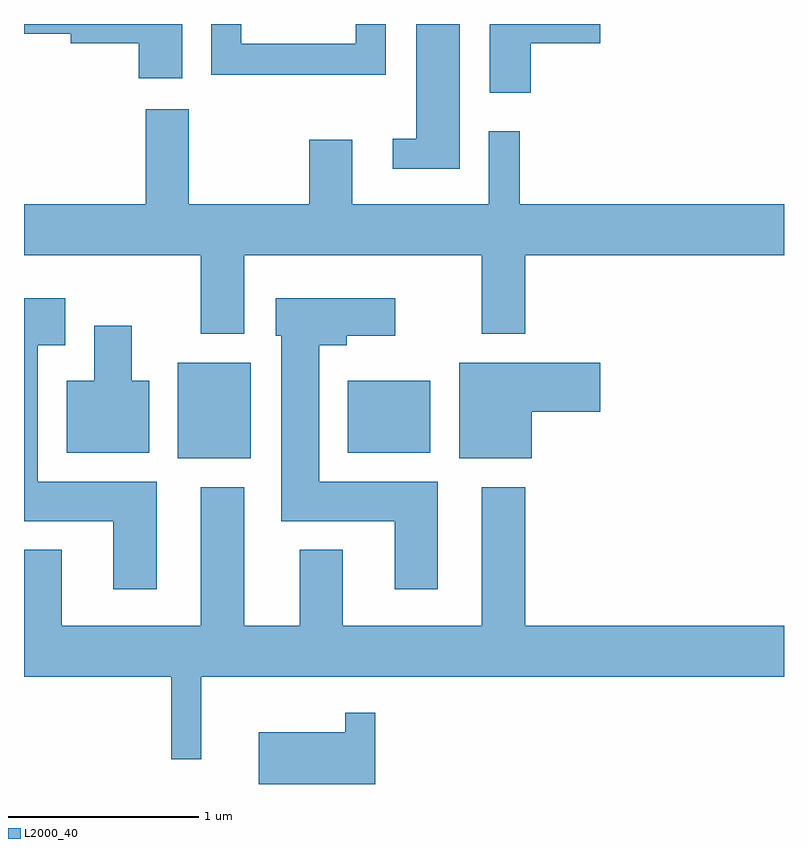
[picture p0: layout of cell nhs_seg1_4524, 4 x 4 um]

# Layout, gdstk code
import gdstk
lib = gdstk.Library(unit=1e-6, precision=1e-09)
def R(c, l, rs):  # rectangles x0, y0, x1, y1
    for r in rs: c.add(gdstk.rectangle(r[:2], r[2:], *l))
def P(c, l, *ps):  # polygons
    for p in ps: c.add(gdstk.Polygon(p, *l))
L2000_40 = (2000, 40)

nhs_seg1_4524 = lib.new_cell('nhs_seg1_4524')
R(nhs_seg1_4524, L2000_40, [(322.421,867.426,322.804,867.929), (323.316,867.456,323.749,867.834)])
P(nhs_seg1_4524, L2000_40, [(324.279,869.611),(324.644,869.611),(324.644,869.712),(324.061,869.712),(324.061,869.351),(324.279,869.351)],
  [(323.904,869.712),(323.676,869.712),(323.676,869.109),(323.553,869.109),(323.553,868.951),(323.904,868.951)],
  [(323.514,869.712),(323.356,869.712),(323.356,869.609),(322.754,869.609),(322.754,869.712),(322.596,869.712),(322.596,869.446),(323.514,869.446)],
  [(322.444,869.712),(321.611,869.712),(321.611,869.661),(321.856,869.661),(321.856,869.611),(322.216,869.611),(322.216,869.426),(322.444,869.426)],
  [(322.769,868.496),(324.021,868.496),(324.021,868.081),(324.249,868.081),(324.249,868.496),(325.611,868.496),(325.611,868.764),(324.219,868.764),(324.219,869.148),(324.056,869.148),(324.056,868.764),(323.339,868.764),(323.339,869.104),(323.111,869.104),(323.111,868.764),(322.479,868.764),(322.479,869.264),(322.251,869.264),(322.251,868.764),(321.611,868.764),(321.611,868.496),(322.541,868.496),(322.541,868.081),(322.769,868.081)],
  [(322.309,867.304),(321.684,867.304),(321.684,868.021),(321.829,868.021),(321.829,868.269),(321.611,868.269),(321.611,867.096),(322.081,867.096),(322.081,866.736),(322.309,866.736)],
  [(323.789,867.304),(323.164,867.304),(323.164,868.021),(323.309,868.021),(323.309,868.071),(323.564,868.071),(323.564,868.269),(322.936,868.269),(322.936,868.071),(322.966,868.071),(322.966,867.096),(323.561,867.096),(323.561,866.736),(323.789,866.736)],
  [(322.269,867.834),(322.179,867.834),(322.179,868.124),(321.981,868.124),(321.981,867.834),(321.836,867.834),(321.836,867.456),(322.269,867.456)],
  [(324.284,867.671),(324.644,867.671),(324.644,867.929),(323.901,867.929),(323.901,867.426),(324.284,867.426)],
  [(321.611,866.944),(321.611,866.276),(322.386,866.276),(322.386,865.843),(322.544,865.843),(322.544,866.276),(325.611,866.276),(325.611,866.544),(324.249,866.544),(324.249,867.274),(324.021,867.274),(324.021,866.544),(323.289,866.544),(323.289,866.944),(323.061,866.944),(323.061,866.544),(322.769,866.544),(322.769,867.274),(322.541,867.274),(322.541,866.544),(321.809,866.544),(321.809,866.944)],
  [(323.459,866.088),(323.301,866.088),(323.301,865.984),(322.846,865.984),(322.846,865.712),(323.459,865.712)])

lib.write_gds('nhs_seg1_4524.gds')
